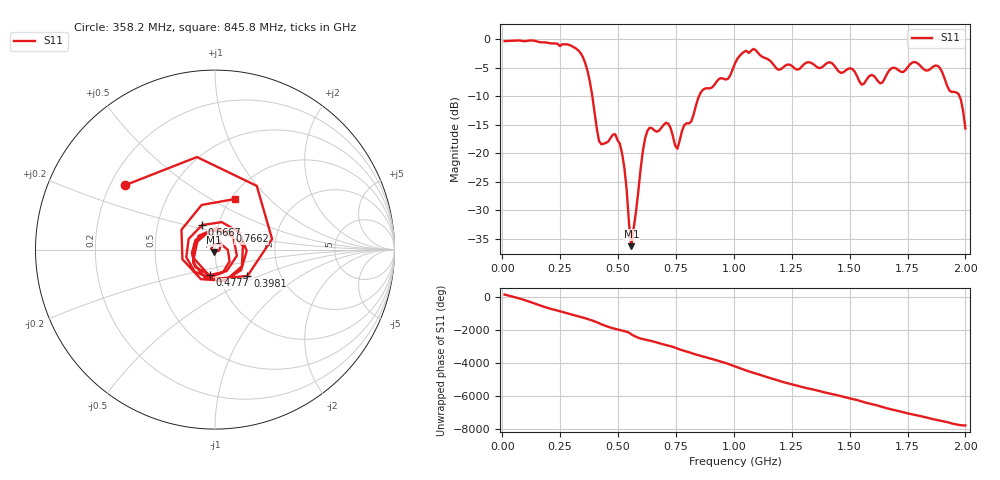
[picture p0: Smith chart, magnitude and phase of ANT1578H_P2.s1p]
!Created with skrf (http://scikit-rf.org).
# Hz S RI R 50.0
!freq ReS11 ImS11
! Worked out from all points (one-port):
!   201 points, 10 MHz to 2 GHz, reference 50 ohm
!   lowest |S11| = -36.3 dB at 557.2 MHz (marker M1), VSWR 1.03, Z = 49.5 - j1.43 ohm
!   |S11| at or under -10 dB: 388.8 MHz to 849.8 MHz (461 MHz wide, 74.4 % of centre); 1.974 GHz to end of sweep
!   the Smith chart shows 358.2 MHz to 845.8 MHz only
!   S11 on the Smith chart (normalised r, x): 358.2 MHz: 0.26, +0.30; 398.1 MHz: 1.37, -0.42; 477.6 MHz: 0.91, -0.26; 666.7 MHz: 0.84, +0.23; 766.2 MHz: 1.15, +0.24; 845.8 MHz: 1.04, +0.65
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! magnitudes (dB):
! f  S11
! 10 MHz  -0.4
! 258.8 MHz  -0.9
! 358.2 MHz  -4.2
! 398.1 MHz  -12.7
! 427.9 MHz  -18.4
! 477.6 MHz  -16.7
! 507.5 MHz  -18.3
! 527.4 MHz  -22.6
! 557.2 MHz  -36.3
! 617 MHz  -17.4
! 636.9 MHz  -15.5
! 666.7 MHz  -16.2
! 716.5 MHz  -14.8
! 756.2 MHz  -19.2
! 766.2 MHz  -17.8
! 845.8 MHz  -10.4
! 975.1 MHz  -6.9
! 1.005 GHz  -4.3
! 1.085 GHz  -1.7
! 1.194 GHz  -5.4
! 1.254 GHz  -4.8
! 1.502 GHz  -5.1
! 1.552 GHz  -8.0
! 1.751 GHz  -4.9
! 1.891 GHz  -5.1
! 1.93 GHz  -9.0
! 1.97 GHz  -9.6
! 2 GHz  -15.7
